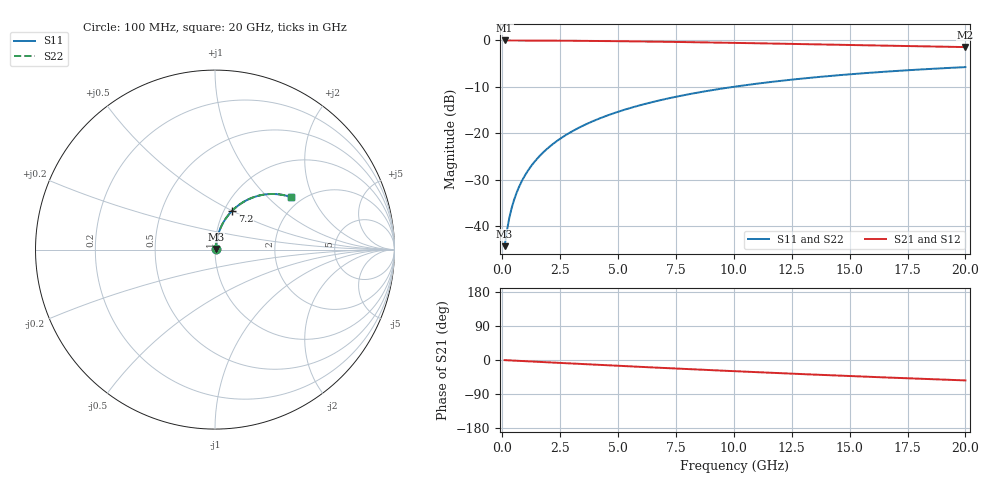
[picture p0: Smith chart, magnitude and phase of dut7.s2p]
! Touchstone file exported from HFSS 2026.1.0
!  File:  C:/ffzhzh/LocalFiles/Ansys_Project_Files/temp_test_TMRDL_7_1782906893_8056.aedt
!  Generated:  07:56:24 PM Jul  1, 2026
!  Design:  TMRDL
!  Project:  temp_test_TMRDL_7_1782906893_8056
! Variables:
!  h_bsmrdl = 2um
!  h_ox = 20um
!  h_rdl = 5um
!  h_sub = 80um
!  h_tmrdl = 3.37um
!  h_tsv = 80um
!  h_via = 3um
!  l_bsmrdl = 300um
!  l_sub = 1194.74um
!  l_tmrdl = 794.74um
!  m_sub = 200um
!  pitch = 49.54um
!  r_tsv = 6um
!  s_tmrdl = 10um
!  w_bsmrdl = 18um
!  w_sub = 500um
!  w_tmrdl = 17.88um
!  x_tsv_center1 = 803.68um
!  x_tsv_center2 = 1121.68um
!  x_tsv_center3 = 1934.3um
!  x_tsv_center4 = 2252.3um
!  x_tsv_center5 = 3064.92um
!  x_tsv_center6 = 3382.92um
# GHz S MA R 50.000000
! Terminal data exported
! Port[1] = TM_RDL1_1_T1
! Port[2] = TM_RDL1_1_T2
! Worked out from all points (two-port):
!   200 points, 100 MHz to 20 GHz, reference 50 ohm
!   highest |S21| = -0.04 dB at 100 MHz (marker M1); lowest = -1.5 dB at 20 GHz (marker M2)
!   |S21| within 3 dB of the highest: start of sweep to end of sweep
!   lowest |S11| = -44.3 dB at 100 MHz (marker M3), VSWR 1.01, Z = 50.5 + j0.375 ohm
!   |S11| at or under -10 dB: start of sweep to 10.03 GHz
!   |S22| runs from -44.3 to -5.8 dB; largest |S21 - S12| = 2.7e-15
!   S11 on the Smith chart (normalised r, x): 100 MHz: 1.01, +0.01; 7.2 GHz: 1.09, +0.50; 20 GHz: 1.76, +1.40
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0.1  0.006075 37.7  0.9952 -0.3  0.9952 -0.3  0.006075 37.7
! Gamma 0 0 0 0
! Port Impedance 50 0 50 0
0.2  0.008912 55.8  0.995 -0.6  0.995 -0.6  0.008912 55.8
0.3  0.01215 64.3  0.9948 -1.0  0.9948 -1.0  0.01215 64.3
0.4  0.01548 68.9  0.9946 -1.3  0.9946 -1.3  0.01548 68.9
0.5  0.01885 71.8  0.9944 -1.6  0.9944 -1.6  0.01885 71.8
0.6  0.02222 73.8  0.9943 -1.9  0.9943 -1.9  0.02222 73.8
0.8  0.029 76.2  0.9939 -2.5  0.9939 -2.5  0.029 76.2
1.1  0.03924 78.0  0.9934 -3.4  0.9934 -3.4  0.03924 78.0
1.3  0.04608 78.6  0.993 -4.0  0.993 -4.0  0.04608 78.6
1.6  0.05637 78.9  0.9924 -5.0  0.9924 -5.0  0.05637 78.9
2.1  0.07349 78.6  0.991 -6.5  0.991 -6.5  0.07349 78.6
2.7  0.09392 77.6  0.989 -8.3  0.989 -8.3  0.09392 77.7
3.5  0.1208 75.9  0.9857 -10.8  0.9857 -10.8  0.1208 75.9
4.2  0.144 74.1  0.9821 -12.9  0.9821 -12.9  0.144 74.2
5  0.1699 72.0  0.9775 -15.3  0.9775 -15.3  0.1699 72.0
6.8  0.2257 67.1  0.9649 -20.5  0.9649 -20.5  0.2257 67.1
7.2  0.2377 66.0  0.9618 -21.7  0.9618 -21.7  0.2377 66.0
8.6  0.2778 62.2  0.9502 -25.6  0.9502 -25.6  0.2778 62.2
10.1  0.3182 58.2  0.9368 -29.7  0.9368 -29.7  0.3182 58.3
13.4  0.3968 49.8  0.9054 -38.3  0.9054 -38.3  0.3968 49.9
16.7  0.4618 42.0  0.8738 -46.4  0.8738 -46.4  0.4618 42.0
20  0.5141 34.7  0.8443 -53.9  0.8443 -53.9  0.5141 34.7
